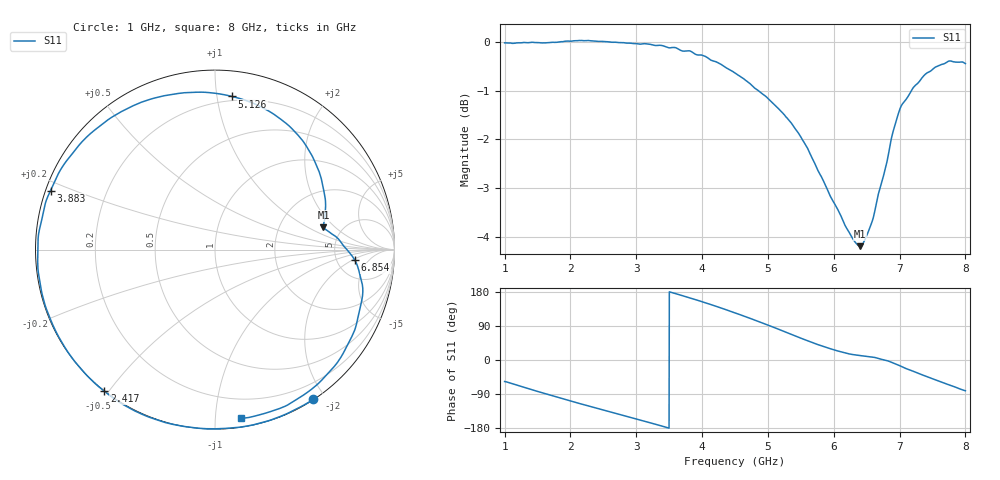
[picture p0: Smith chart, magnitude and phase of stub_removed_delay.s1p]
# GHz S MA R 50
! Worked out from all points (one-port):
!   1601 points, 1 GHz to 8 GHz, reference 50 ohm
!   lowest |S11| = -4.2 dB at 6.403 GHz (marker M1), VSWR 4.22, Z = 180 + j72.4 ohm
!   |S11| at or under -10 dB: nowhere
!   S11 on the Smith chart (normalised r, x): 1 GHz: 0.00, -1.85; 2.417 GHz: -0.00, -0.49; 3.883 GHz: 0.01, +0.17; 5.126 GHz: 0.17, +1.10; 6.854 GHz: 7.46, -2.30; 8 GHz: 0.06, -1.17
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1  0.9982 -56.7
1.433125  0.9994 -79.5
1.875  1.001 -102.0
2.14625  1.004 -115.2
2.4175  1.002 -128.0
2.75  0.9988 -143.7
3.191875  0.995 -164.7
3.393125  0.9917 -174.5
3.625  0.9849 173.7
3.883125  0.9731 160.3
4.15875  0.9566 144.8
4.5  0.9294 124.4
4.828125  0.8939 103.4
5.125625  0.8587 83.7
5.375  0.822 66.4
5.585  0.7816 52.0
5.7775  0.7338 39.5
6.026875  0.6794 25.5
6.25  0.6348 15.5
6.403125  0.6168 11.7
6.62625  0.6716 6.6
6.85375  0.782 -4.4
6.998125  0.8511 -14.7
7.125  0.8783 -24.5
7.36125  0.9224 -40.3
7.5625  0.9437 -53.4
7.759375  0.9562 -66.0
8  0.9503 -81.1
